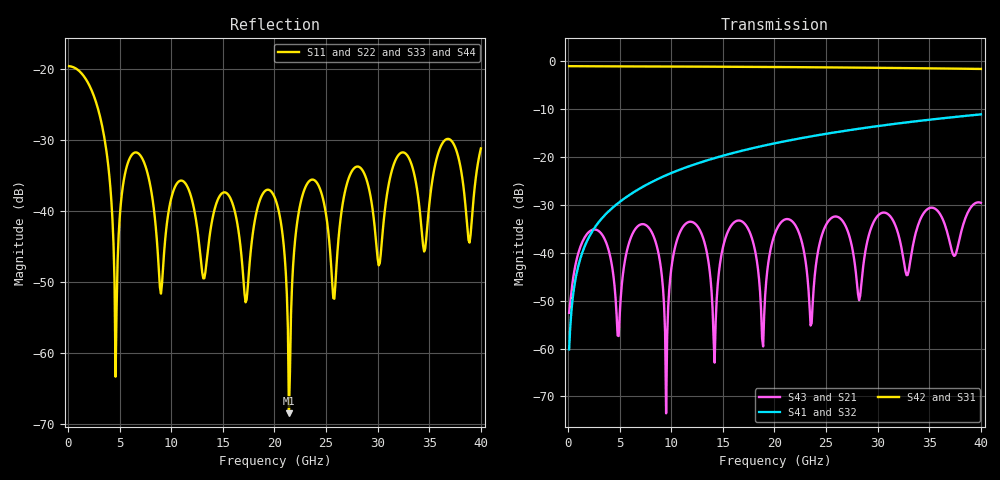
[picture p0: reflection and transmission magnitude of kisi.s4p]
! T_ts6_xt_ms_s20: Microstrip aggressor and victim on L1, w 0.265 mm, edge gap 2·w = 0.53 mm, 20 mm
! stackup: ThunderScope Rev5.3 6-layer (FR408HR / FR-4, from the board file)
! ports: 1 near A, 2 near B, 3 far A, 4 far B
! kisi-fdtd, conformal, dfine 0.035 mm, 725536 cells
# Hz S RI R 50
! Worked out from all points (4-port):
!   400 points, 100 MHz to 40 GHz, reference 50 ohm
!   strongest paths, dB at 100 MHz, 10.1 GHz, 20.1 GHz, 30.1 GHz, 40 GHz:
!     S42: -1.0, -1.1, -1.2, -1.3, -1.6
!     S31: -1.0, -1.1, -1.2, -1.3, -1.6
!     S41: -60.2, -23.2, -17.1, -13.5, -11.1
!     S32: -60.2, -23.2, -17.1, -13.5, -11.1
!     S43: -52.5, -41.8, -35.6, -32.0, -29.5
!     S21: -52.5, -41.8, -35.6, -32.0, -29.5
!   lowest |S11| = -68.5 dB at 21.4 GHz (marker M1), VSWR 1.00, Z = 50 + j0.0231 ohm
!   |S11| at or under -10 dB: start of sweep to end of sweep
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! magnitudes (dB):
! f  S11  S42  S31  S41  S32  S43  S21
! 100 MHz  -19.6  -1.0  -1.0  -60.2  -60.2  -52.5  -52.5
! 4.6 GHz  -63.3  -1.0  -1.0  -30.0  -30.0  -49.4  -49.4
! 6.6 GHz  -31.7  -1.0  -1.0  -27.0  -27.0  -34.8  -34.8
! 9.5 GHz  -42.7  -1.1  -1.1  -23.8  -23.8  -73.5  -73.5
! 11.1 GHz  -35.7  -1.1  -1.1  -22.4  -22.4  -34.7  -34.7
! 21.4 GHz  -68.5  -1.2  -1.2  -16.5  -16.5  -33.0  -33.0
! 40 GHz  -31.2  -1.6  -1.6  -11.1  -11.1  -29.5  -29.5
